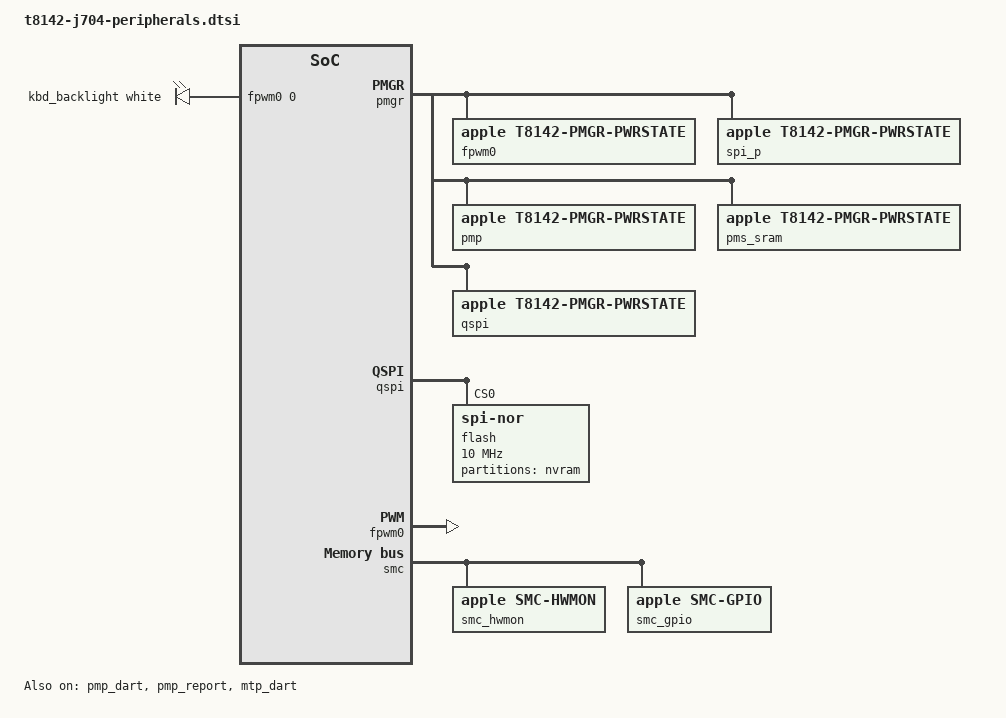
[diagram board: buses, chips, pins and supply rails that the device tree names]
// SPDX-License-Identifier: GPL-2.0+ OR MIT
#include <dt-bindings/gpio/gpio.h>
#include <dt-bindings/leds/common.h>

/ {
	aliases {
		mtp = &mtp;
		keyboard = &keyboard;
		nvram = &nvram;
		pmp = &pmp;
	};

	/* ADT /arm-io/qspi clock-ids [396]; rate as the T8140 QSPI. */
	clk_qspi: clock-qspi {
		compatible = "fixed-clock";
		#clock-cells = <0>;
		clock-frequency = <200000000>;
		clock-output-names = "clk_qspi";
	};

	led-controller {
		compatible = "pwm-leds";

		led-0 {
			pwms = <&fpwm0 0 40000>;
			label = "kbd_backlight";
			function = LED_FUNCTION_KBD_BACKLIGHT;
			color = <LED_COLOR_ID_WHITE>;
			max-brightness = <255>;
			default-brightness = <127>;
			default-state = "on";
		};
	};
};

&pmgr {
	ps_fpwm0: power-controller@330 {
		compatible = "apple,t8142-pmgr-pwrstate", "apple,t8103-pmgr-pwrstate";
		reg = <0x330 4>;
		#power-domain-cells = <0>;
		#reset-cells = <0>;
		label = "fpwm0";
	};

	/* ADT pmgr devices: SPI_P id 94 (+0x390), QSPI id 120 (+0x460). */
	ps_spi_p: power-controller@390 {
		compatible = "apple,t8142-pmgr-pwrstate", "apple,t8103-pmgr-pwrstate";
		reg = <0x390 4>;
		#power-domain-cells = <0>;
		#reset-cells = <0>;
		label = "spi_p";
	};

	/* ADT pmgr devices: PMP id 159 (+0x598), PMS_SRAM id 160 (+0x5a0). */
	ps_pmp: power-controller@598 {
		compatible = "apple,t8142-pmgr-pwrstate", "apple,t8103-pmgr-pwrstate";
		reg = <0x598 4>;
		#power-domain-cells = <0>;
		#reset-cells = <0>;
		label = "pmp";
		/* The PMP's SRAM, which the driver reads first. */
		power-domains = <&ps_pms_sram>;
	};

	ps_pms_sram: power-controller@5a0 {
		compatible = "apple,t8142-pmgr-pwrstate", "apple,t8103-pmgr-pwrstate";
		reg = <0x5a0 4>;
		#power-domain-cells = <0>;
		#reset-cells = <0>;
		label = "pms_sram";
		/* T8140 holds it through its always-on PMP report node. */
		apple,always-on;
	};

	ps_qspi: power-controller@460 {
		compatible = "apple,t8142-pmgr-pwrstate", "apple,t8103-pmgr-pwrstate";
		reg = <0x460 4>;
		#power-domain-cells = <0>;
		#reset-cells = <0>;
		label = "qspi";
		power-domains = <&ps_spi_p>;
	};
};

&{/soc} {
	/*
	 * PMP, laid out as on T8140 (ADT /arm-io/pmp, dart-pmp): it runs the
	 * DRAM controller (DCS) and fabric DVFS. Without it the memory stays at
	 * the bootloader's state (memcpy ~20 GB/s against ~120 GB/s on macOS).
	 */
	pmp: pmp@380500000 {
		compatible = "apple,t8142-pmp-v2", "apple,t8140-pmp-v2";
		reg = <0x3 0x80500000 0x0 0xd0000>,
		      <0x3 0x80e00000 0x0 0x4000>;
		reg-names = "pmp", "asc";
		mboxes = <&pmp_mbox>;
		mbox-names = "mbox";
		iommus = <&pmp_dart 0>;
		power-domains = <&ps_pmp>;
		/*
		 * ADT /arm-io/pmgr pmc, pmc-pmgr (registry-v2 boot arguments).
		 * The loader adds apple,board-id, apple,dram-vendor-id and the
		 * apple,tunable-* values from this machine's ADT.
		 */
		apple,pmc = <1>;
		apple,pmc-pmgr = <31>;
	};

	pmp_mbox: mailbox@380e08000 {
		compatible = "apple,t8142-asc-mailbox", "apple,asc-mailbox-v4";
		reg = <0x3 0x80e08000 0x0 0x4000>;
		interrupt-parent = <&aic>;
		interrupts = <AIC_IRQ 1000 IRQ_TYPE_LEVEL_HIGH>,
			     <AIC_IRQ 1001 IRQ_TYPE_LEVEL_HIGH>,
			     <AIC_IRQ 1002 IRQ_TYPE_LEVEL_HIGH>,
			     <AIC_IRQ 1003 IRQ_TYPE_LEVEL_HIGH>;
		interrupt-names = "send-empty", "send-not-empty",
				  "recv-empty", "recv-not-empty";
		#mbox-cells = <0>;
		power-domains = <&ps_pmp>;
	};

	/* ADT /arm-io/qspi: 0x195118000 and its FIFO window at +0x800, IRQ 1245. */
	qspi: spi@3a5118000 {
		compatible = "apple,t8142-qspi", "apple,t8140-qspi";
		reg = <0x3 0xa5118000 0x0 0x4800>;
		clocks = <&clk_qspi>;
		interrupt-parent = <&aic>;
		interrupts = <AIC_IRQ 1245 IRQ_TYPE_LEVEL_HIGH>;
		#address-cells = <1>;
		#size-cells = <0>;
		power-domains = <&ps_qspi>;

		flash@0 {
			compatible = "jedec,spi-nor";
			reg = <0>;
			/* Conservative until the input clock is confirmed. */
			spi-max-frequency = <10000000>;

			partitions {
				compatible = "fixed-partitions";
				#address-cells = <1>;
				#size-cells = <1>;

				/* ADT spinor/anvram reg: 0x100000 bytes at 0x700000. */
				nvram: partition@700000 {
					label = "nvram";
					reg = <0x700000 0x100000>;
				};
			};
		};
	};

	fpwm0: pwm@3a5040000 {
		compatible = "apple,t8142-fpwm", "apple,s5l-fpwm";
		reg = <3 0xa5040000 0 0x4000>;
		power-domains = <&ps_fpwm0>;
		clocks = <&clkref>;
		#pwm-cells = <2>;
	};

	smc_mbox: mailbox@38c608000 {
		compatible = "apple,t8142-asc-mailbox", "apple,asc-mailbox-v4";
		reg = <3 0x8c608000 0 0x4000>;
		interrupts = <AIC_IRQ 633 IRQ_TYPE_LEVEL_HIGH>,
			     <AIC_IRQ 634 IRQ_TYPE_LEVEL_HIGH>,
			     <AIC_IRQ 635 IRQ_TYPE_LEVEL_HIGH>,
			     <AIC_IRQ 636 IRQ_TYPE_LEVEL_HIGH>;
		interrupt-names = "send-empty", "send-not-empty", "recv-empty", "recv-not-empty";
		#mbox-cells = <0>;
	};

	smc: smc@38c600000 {
		compatible = "apple,t8142-smc", "apple,t8103-smc";
		reg = <3 0x8c600000 0 0x4000>, <3 0x8de00000 0 0x120000>;
		reg-names = "smc", "sram";
		mboxes = <&smc_mbox>;

		smc_hwmon: hwmon {
			compatible = "apple,smc-hwmon";
		};

		smc_gpio: gpio {
			compatible = "apple,smc-gpio";
			gpio-controller;
			#gpio-cells = <2>;
		};
	};

	mtp: mtp@394600000 {
		compatible = "apple,t8142-mtp", "apple,t8142-rtk-helper-asc4",
			     "apple,mtp", "apple,rtk-helper-asc4";
		/* The second region is firmware SRAM, not the ASC control window. */
		reg = <3 0x94600000 0 0x4000>, <3 0x94c00000 0 0x100000>;
		reg-names = "asc", "sram";
		mboxes = <&mtp_mbox>;
		iommus = <&mtp_dart 0>;
	};

	mtp_mbox: mailbox@394608000 {
		compatible = "apple,t8142-asc-mailbox", "apple,asc-mailbox-v4";
		reg = <3 0x94608000 0 0x4000>;
		interrupts = <AIC_IRQ 1299 IRQ_TYPE_LEVEL_HIGH>,
			     <AIC_IRQ 1300 IRQ_TYPE_LEVEL_HIGH>,
			     <AIC_IRQ 1301 IRQ_TYPE_LEVEL_HIGH>,
			     <AIC_IRQ 1302 IRQ_TYPE_LEVEL_HIGH>;
		interrupt-names = "send-empty", "send-not-empty", "recv-empty", "recv-not-empty";
		#mbox-cells = <0>;
	};

	mtp_dockchannel: fifo@394b14000 {
		compatible = "apple,t8142-dockchannel", "apple,dockchannel";
		reg = <3 0x94b14000 0 0x1000>;
		reg-names = "irq";
		interrupts = <AIC_IRQ 1277 IRQ_TYPE_LEVEL_HIGH>;
		ranges = <0 3 0x94b28000 0x20000>;
		nonposted-mmio;
		#address-cells = <1>;
		#size-cells = <1>;
		interrupt-controller;
		#interrupt-cells = <2>;

		mtp_hid: input@8000 {
			compatible = "apple,dockchannel-hid";
			reg = <0x8000 0x1000>, <0xc000 0x1000>,
			      <0x0000 0x1000>, <0x4000 0x1000>;
			reg-names = "config", "data", "rmt-config", "rmt-data";
			iommus = <&mtp_dart 0>;
			interrupt-parent = <&mtp_dockchannel>;
			interrupts = <2 IRQ_TYPE_LEVEL_HIGH>, <3 IRQ_TYPE_LEVEL_HIGH>;
			interrupt-names = "tx", "rx";
			apple,fifo-size = <0x800>;
			apple,helper-cpu = <&mtp>;
			/*
			 * ADT dockchannel-mtp/mtp-transport/multi-touch:
			 * function-afe-reset = smc-pmu pKW4('gP1c'), SMC GPIO 28,
			 * as on J813.
			 */
			apple,afe-reset-gpios = <&smc_gpio 28 GPIO_ACTIVE_LOW>;

			stm { };

			multi-touch {
				firmware-name = "apple/tpmtfw-j704.bin";
				apple,power-method = <2>;
			};

			/* Layout is filled by the loader using this machine's own data. */
			keyboard: keyboard { };
		};
	};
};

&pmp_dart {
	apple,dma-range = /bits/ 64 <0x10000000000 0xbff00000>;
	power-domains = <&ps_pmp>;
	status = "okay";
};

&pmp_report {
	power-domains = <&ps_pms_sram>;
	status = "okay";
};

&mtp_dart {
	/* Keep host allocations clear of firmware's low IOVA mappings. */
	apple,dma-range = <0 0x02000000 0 0x10000000>;
	status = "okay";
};
